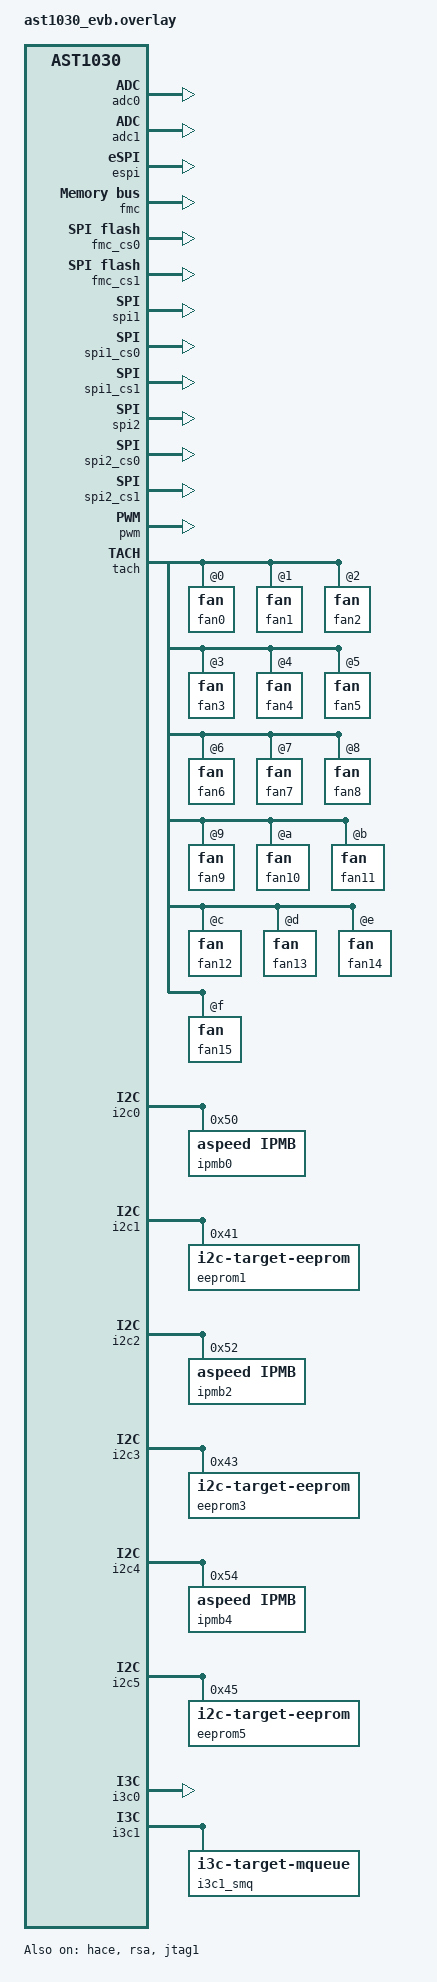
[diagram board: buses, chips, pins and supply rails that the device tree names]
/*
 * Copyright (c) 2026 Aspeed Technology Inc.
 *
 * SPDX-License-Identifier: Apache-2.0
 *
 * Combined overlay: union of every peripheral test's own overlay under
 * tests/boards/ast1030_evb/<peripheral>/boards/ast1030_evb.overlay.
 * Verified (via a scratch merged build) that no two peripherals target the
 * same devicetree node. gpio0_a_d (used by src/gpio_concurrent.c, pins 8/9
 * loopback) needs no overlay - it's status-okay by default in the SoC dtsi.
 */

/* --- from adc --- */

&adc0 {
	status = "okay";

	pinctrl-names = "default";
	pinctrl-0 = <pinctrl_adc0_default pinctrl_adc1_default
		pinctrl_adc2_default pinctrl_adc3_default
		pinctrl_adc4_default pinctrl_adc5_default
		pinctrl_adc6_default pinctrl_adc7_default>;
};

&adc1 {
	status = "okay";

	pinctrl-names = "default";
	pinctrl-0 = <pinctrl_adc8_default pinctrl_adc9_default
		pinctrl_adc10_default pinctrl_adc11_default
		pinctrl_adc12_default pinctrl_adc13_default
		pinctrl_adc14_default pinctrl_adc15_default>;
};

/* --- from espi --- */

&espi {
	status = "okay";
};

/* --- from spi --- */

&fmc {
	status = "okay";
};

&fmc_cs0 {
	status = "okay";
	spi-max-buswidth = <4>;
	spi-max-frequency = <50000000>;
};

&fmc_cs1 {
	status = "okay";
	spi-max-buswidth = <4>;
	spi-max-frequency = <50000000>;
};

&spi1 {
	status = "okay";
};

&spi1_cs0 {
	status = "okay";
	spi-max-buswidth = <4>;
	spi-max-frequency = <50000000>;
};

&spi1_cs1 {
	status = "okay";
	spi-max-buswidth = <4>;
	spi-max-frequency = <50000000>;
};

&spi2 {
	status = "okay";
};

&spi2_cs0 {
	status = "okay";
	spi-max-buswidth = <4>;
	spi-max-frequency = <50000000>;
};

&spi2_cs1 {
	status = "okay";
	spi-max-buswidth = <4>;
	spi-max-frequency = <50000000>;
};

/* --- from pwm_tach --- */

&pwm {
	status = "okay";

	pinctrl-names = "default";
	pinctrl-0 = <pinctrl_pwm0_default pinctrl_pwm1_default
			pinctrl_pwm2_default pinctrl_pwm3_default
			pinctrl_pwm4_default pinctrl_pwm5_default
			pinctrl_pwm6_default pinctrl_pwm7_default
			pinctrl_pwm8_default pinctrl_pwm9_default
			pinctrl_pwm10_default pinctrl_pwm11_default
			pinctrl_pwm12_default pinctrl_pwm13_default
			pinctrl_pwm14_default pinctrl_pwm15_default>;
};

&tach {
	status = "okay";

	pinctrl-names = "default";
	pinctrl-0 = <pinctrl_tach0_default pinctrl_tach1_default
			pinctrl_tach2_default pinctrl_tach3_default
			pinctrl_tach4_default pinctrl_tach5_default
			pinctrl_tach6_default pinctrl_tach7_default
			pinctrl_tach8_default pinctrl_tach9_default
			pinctrl_tach10_default pinctrl_tach11_default
			pinctrl_tach12_default pinctrl_tach13_default
			pinctrl_tach14_default pinctrl_tach15_default>;

	fan0: fan@0 {
		reg = <0>;
		pulse-pr = <1>;
		min-rpm = <1000>;
		tach-div = <2>;
	};

	fan1: fan@1 {
		reg = <1>;
		pulse-pr = <1>;
		min-rpm = <1000>;
		tach-div = <2>;
	};

	fan2: fan@2 {
		reg = <2>;
		pulse-pr = <1>;
		min-rpm = <1000>;
		tach-div = <2>;
	};

	fan3: fan@3 {
		reg = <3>;
		pulse-pr = <1>;
		min-rpm = <1000>;
		tach-div = <2>;
	};

	fan4: fan@4 {
		reg = <4>;
		pulse-pr = <1>;
		min-rpm = <1000>;
		tach-div = <2>;
	};

	fan5: fan@5 {
		reg = <5>;
		pulse-pr = <1>;
		min-rpm = <1000>;
		tach-div = <2>;
	};

	fan6: fan@6 {
		reg = <6>;
		pulse-pr = <1>;
		min-rpm = <1000>;
		tach-div = <2>;
	};

	fan7: fan@7 {
		reg = <7>;
		pulse-pr = <1>;
		min-rpm = <1000>;
		tach-div = <2>;
	};

	fan8: fan@8 {
		reg = <8>;
		pulse-pr = <1>;
		min-rpm = <1000>;
		tach-div = <2>;
	};

	fan9: fan@9 {
		reg = <9>;
		pulse-pr = <1>;
		min-rpm = <1000>;
		tach-div = <2>;
	};

	fan10: fan@a {
		reg = <0xa>;
		pulse-pr = <1>;
		min-rpm = <1000>;
		tach-div = <2>;
	};

	fan11: fan@b {
		reg = <0xb>;
		pulse-pr = <1>;
		min-rpm = <1000>;
		tach-div = <2>;
	};

	fan12: fan@c {
		reg = <0xc>;
		pulse-pr = <1>;
		min-rpm = <1000>;
		tach-div = <2>;
	};

	fan13: fan@d {
		reg = <0xd>;
		pulse-pr = <1>;
		min-rpm = <1000>;
		tach-div = <2>;
	};

	fan14: fan@e {
		reg = <0xe>;
		pulse-pr = <1>;
		min-rpm = <1000>;
		tach-div = <2>;
	};

	fan15: fan@f {
		reg = <0xf>;
		pulse-pr = <2>;
		min-rpm = <700>;
		tach-div = <5>;
	};
};

/* --- from crypto --- */

&hace {
	status = "okay";
};

&rsa {
	status = "okay";
};

/* --- from i2c --- */

/*
 * Bus pairing mirrors the old CI test: i2c0/i2c1, i2c2/i2c3, i2c4/i2c5 are
 * wired together on the EVB. Each pair carries one IPMB target (on the
 * even bus) and one EEPROM target (on the odd bus), so either half can
 * act as bus master for the other's target.
 */

&i2c0 {
	status = "okay";

	ipmb0: ipmb@50 {
		compatible = "aspeed,ipmb";
		reg = <0x50>;
		size = <5>;
	};
};

&i2c1 {
	status = "okay";

	eeprom1: eeprom@41 {
		compatible = "zephyr,i2c-target-eeprom";
		reg = <0x41>;
		size = <256>;
	};
};

&i2c2 {
	status = "okay";

	ipmb2: ipmb@52 {
		compatible = "aspeed,ipmb";
		reg = <0x52>;
		size = <5>;
	};
};

&i2c3 {
	status = "okay";

	eeprom3: eeprom@43 {
		compatible = "zephyr,i2c-target-eeprom";
		reg = <0x43>;
		size = <256>;
	};
};

&i2c4 {
	status = "okay";

	ipmb4: ipmb@54 {
		compatible = "aspeed,ipmb";
		reg = <0x54>;
		size = <5>;
	};
};

&i2c5 {
	status = "okay";

	eeprom5: eeprom@45 {
		compatible = "zephyr,i2c-target-eeprom";
		reg = <0x45>;
		size = <256>;
	};
};

/* --- from i3c --- */

/*
 * i3c0-to-i3c1 self-loopback (mirrors the old ast1030 CI i3c test):
 * i3c0 plays the role of the bus controller; i3c1 runs in secondary/target
 * mode and exposes an i3c-target-mqueue child device (i3c1_smq). The
 * controller attaches i3c1 as an I3C device dynamically at runtime
 * (i3c_attach_i3c_device()), so unlike i3c1_smq it has no static DT child
 * node of its own under i3c0.
 *
 * assigned-address values (0x8 for i3c0, 0x9 for i3c1), ibi-append-pec,
 * and the i3c1_smq reg/msg-size/mandatory-data-byte are carried over
 * from the old tests/boards/ast1030/boards/ast1030_evb.overlay
 * (aspeed-dev-v2.6.0) as closely as the new bindings allow.
 *
 * ibi-append-pec specifically must not be dropped: per
 * dts/bindings/i3c/aspeed,i3c.yaml, it's required "if the master device
 * is AST2600 or AST1030A0" - without it, IBIs from i3c1 (target) never
 * get recognized correctly by i3c0 (controller) on real hardware
 * (confirmed: dropping it reproduces "timed out waiting for IBI" / IBI
 * MDB mismatch on real AST1030 silicon).
 */
&i3c0 {
	status = "okay";
	assigned-address = <0x8>;
};

&i3c1 {
	status = "okay";
	secondary;
	dcr = <0xcc>;
	assigned-address = <0x9>;
	ibi-append-pec;

	i3c1_smq: i3c-tmq@7ec80011000 {
		compatible = "i3c-target-mqueue";
		reg = <0x0 0x7ec 0x80011000>;
		msg-size = <256>;
		num-of-msgs = <4>;
		mandatory-data-byte = <0xbf>;
		status = "okay";
	};
};

/* --- from jtag --- */

&jtag1 {
	status = "okay";
};

/*
 * Provides slot0_partition, referenced by the board dts's
 * zephyr,code-partition chosen node (boards/aspeed/ast1030_evb/ast1030_evb.dts)
 * which the shared board dts itself never defines. Supplied here instead of
 * editing the shared board dts, following the same per-app overlay pattern
 * used by samples/boards/ast1030_evb/demo/boards/ast1030_evb.overlay.
 */
&fmc_cs0 {
	partitions {
		compatible = "fixed-partitions";
		#address-cells = <1>;
		#size-cells = <1>;
		slot0_partition: partition@0 {
			label = "image-0";
			reg = <0x0 0x100000>;
		};
	};
};

